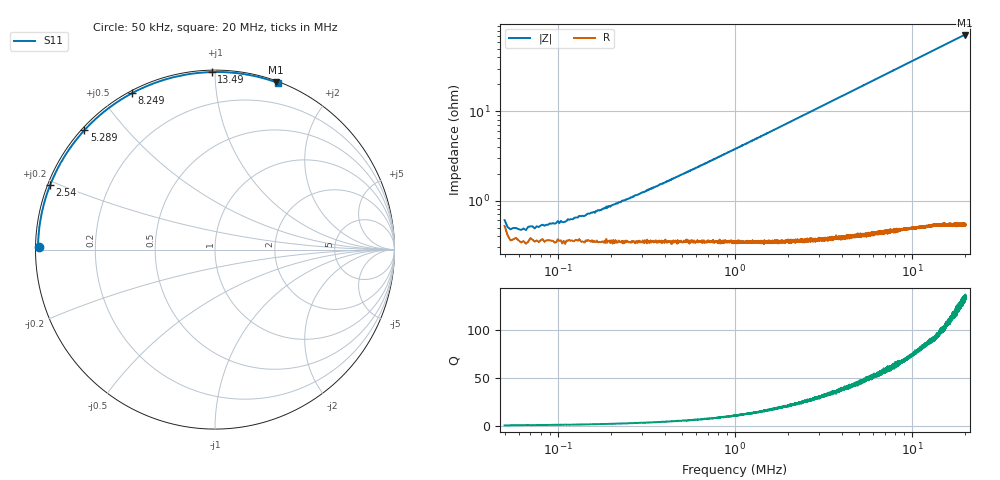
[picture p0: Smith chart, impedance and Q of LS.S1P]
!Keysight Technologies,E5063A,MY54100949,A.07.00
!Date: Tue Nov 25 22:23:22 2025
!Data & Calibration Information:
!Freq	S11:SOLT1(ON)
# Hz S RI R 50
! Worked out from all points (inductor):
!   10001 points, 50 kHz to 20 MHz, reference 50 ohm
!   read as one part to ground: L = 620 nH near 257.5 kHz
!   highest Q = 134 at 19.78 MHz (marker M1), where L = 576 nH
!   S11 on the Smith chart (normalised r, x): 50 kHz: 0.01, +0.01; 2.54 MHz: 0.01, +0.19; 5.289 MHz: 0.01, +0.39; 8.249 MHz: 0.01, +0.60; 13.49 MHz: 0.01, +0.98; 20 MHz: 0.01, +1.45
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50000  -0.9794 0.0121
149750  -0.9855 0.0243
460970  -0.9834 0.0699
1191140  -0.9709 0.1744
1847495  -0.95 0.2661
2539760  -0.919 0.3583
2543750  -0.9187 0.3587
3218060  -0.8804 0.4428
3836510  -0.8407 0.516
4468925  -0.7936 0.5844
5037500  -0.7481 0.6417
5288870  -0.7281 0.6652
5833505  -0.6813 0.7132
6426020  -0.6286 0.7594
6982625  -0.5778 0.7989
7531250  -0.5276 0.8337
8249450  -0.4607 0.872
9105305  -0.3821 0.9097
1.0025e7  -0.2997 0.9406
1.124993e7  -0.1943 0.9686
1.251875e7  -0.0922 0.9845
1.34943e7  -0.0191 0.989
1.50125e7  0.0851 0.9864
1.62494e7  0.1616 0.9779
1.750625e7  0.2314 0.9643
1.856759e7  0.2854 0.9504
1.978055e7  0.3412 0.9323
2e7  0.3507 0.929
